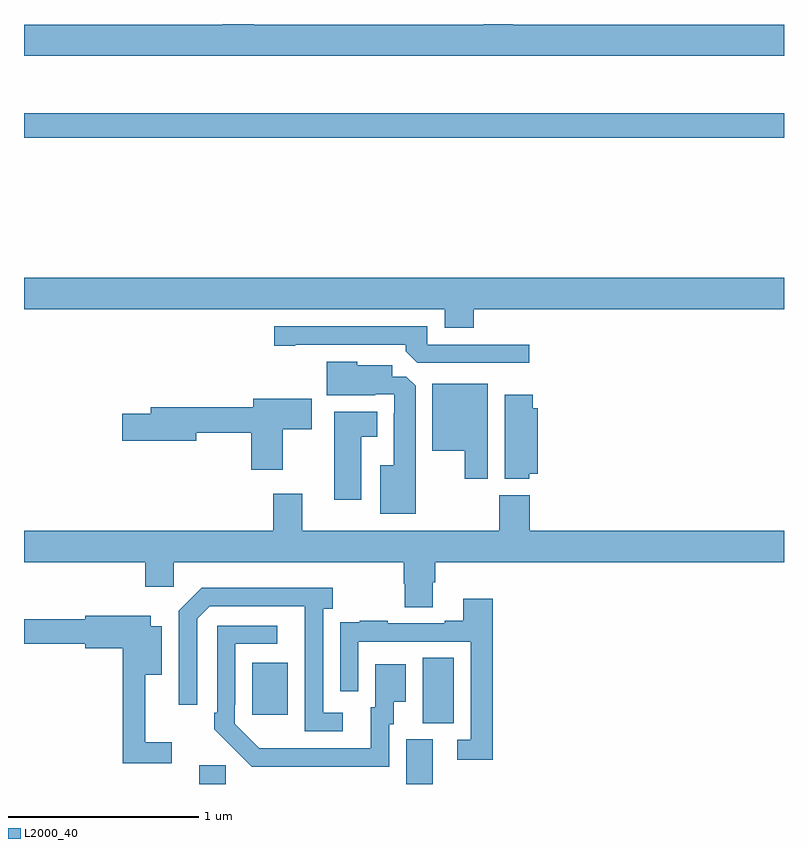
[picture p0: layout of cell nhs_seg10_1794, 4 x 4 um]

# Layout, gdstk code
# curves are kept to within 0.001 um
import gdstk
lib = gdstk.Library(unit=1e-6, precision=1e-09)
def R(c, l, rs):  # rectangles x0, y0, x1, y1
    for r in rs: c.add(gdstk.rectangle(r[:2], r[2:], *l))
def P(c, l, *ps):  # polygons
    for p in ps: c.add(gdstk.Polygon(p, *l))
L2000_40 = (2000, 40)

nhs_seg10_1794 = lib.new_cell('nhs_seg10_1794')
R(nhs_seg10_1794, L2000_40, [(205.922,1280.5,206.061,1280.598), (207.011,1280.5,207.151,1280.736), (207.098,1280.821,207.262,1281.164), (206.201,1280.865,206.389,1281.139), (205,1283.902,209,1284.031)])
P(nhs_seg10_1794, L2000_40, [(209,1284.496),(207.572,1284.496),(207.572,1284.5),(207.42,1284.5),(207.42,1284.496),(206.21,1284.496),(206.21,1284.5),(206.045,1284.5),(206.045,1284.496),(205,1284.496),(205,1284.332),(209,1284.332)],
  [(207.368,1283),(209,1283),(209,1283.164),(205,1283.164),(205,1283),(207.215,1283),(207.215,1282.901),(207.368,1282.901)],
  [(207.658,1282.812),(207.123,1282.812),(207.123,1282.908),(206.316,1282.908),(206.316,1282.807),(206.428,1282.807),(206.428,1282.812),(207.008,1282.812),(207.008,1282.778),(207.069,1282.716),(207.658,1282.716)],
  [(207.061,1282.595),(207.012,1282.644),(206.938,1282.644),(206.938,1282.705),(206.754,1282.705),(206.754,1282.723),(206.594,1282.723),(206.594,1282.547),(206.849,1282.547),(206.849,1282.551),(206.949,1282.551),(206.949,1282.451),(206.945,1282.451),(206.945,1282.177),(206.876,1282.177),(206.876,1281.923),(207.061,1281.923)],
  [(207.442,1282.606),(207.149,1282.606),(207.149,1282.253),(207.32,1282.253),(207.32,1282.107),(207.442,1282.107)],
  [(207.66,1282.133),(207.703,1282.133),(207.703,1282.477),(207.677,1282.477),(207.677,1282.549),(207.53,1282.549),(207.53,1282.106),(207.66,1282.106)],
  [(206.362,1282.366),(206.515,1282.366),(206.515,1282.528),(206.207,1282.528),(206.207,1282.484),(205.667,1282.484),(205.667,1282.448),(205.518,1282.448),(205.518,1282.306),(205.906,1282.306),(205.906,1282.348),(206.195,1282.348),(206.195,1282.155),(206.362,1282.155)],
  [(206.776,1282.328),(206.86,1282.328),(206.86,1282.459),(206.633,1282.459),(206.633,1281.996),(206.776,1281.996)],
  [(207.151,1281.562),(207.164,1281.562),(207.164,1281.668),(209,1281.668),(209,1281.832),(207.662,1281.832),(207.662,1282.021),(207.502,1282.021),(207.502,1281.832),(206.464,1281.832),(206.464,1282.027),(206.312,1282.027),(206.312,1281.832),(205,1281.832),(205,1281.668),(205.637,1281.668),(205.637,1281.537),(205.788,1281.537),(205.788,1281.668),(206.999,1281.668),(206.999,1281.555),(207.004,1281.555),(207.004,1281.43),(207.151,1281.43)],
  [(206.677,1280.874),(206.574,1280.874),(206.574,1281.422),(206.626,1281.422),(206.626,1281.532),(205.936,1281.532),(205.815,1281.411),(205.815,1280.916),(205.911,1280.916),(205.911,1281.369),(205.977,1281.435),(206.477,1281.435),(206.478,1280.778),(206.677,1280.778)],
  [(207.467,1281.475),(207.311,1281.475),(207.311,1281.358),(207.215,1281.358),(207.215,1281.345),(206.915,1281.345),(206.915,1281.358),(206.767,1281.358),(206.767,1281.351),(206.665,1281.351),(206.665,1281.242),(206.664,1281.242),(206.664,1280.988),(206.76,1280.988),(206.76,1281.249),(207.351,1281.249),(207.351,1280.733),(207.279,1280.733),(207.279,1280.628),(207.467,1280.628)],
  [(205.777,1280.719),(205.637,1280.719),(205.637,1281.074),(205.726,1281.074),(205.726,1281.331),(205.666,1281.331),(205.666,1281.385),(205.322,1281.385),(205.322,1281.367),(205,1281.367),(205,1281.238),(205.322,1281.238),(205.322,1281.215),(205.519,1281.215),(205.519,1280.61),(205.777,1280.61)],
  [(206.922,1280.814),(206.947,1280.814),(206.947,1280.933),(207.01,1280.933),(207.01,1281.13),(206.849,1281.13),(206.849,1280.904),(206.825,1280.904),(206.825,1280.688),(206.238,1280.689),(206.109,1280.817),(206.109,1280.917),(206.112,1280.917),(206.112,1281.237),(206.332,1281.237),(206.332,1281.333),(206.016,1281.333),(206.016,1280.875),(206.001,1280.875),(206.001,1280.787),(206.198,1280.592),(206.922,1280.592)])

lib.write_gds('nhs_seg10_1794.gds')
